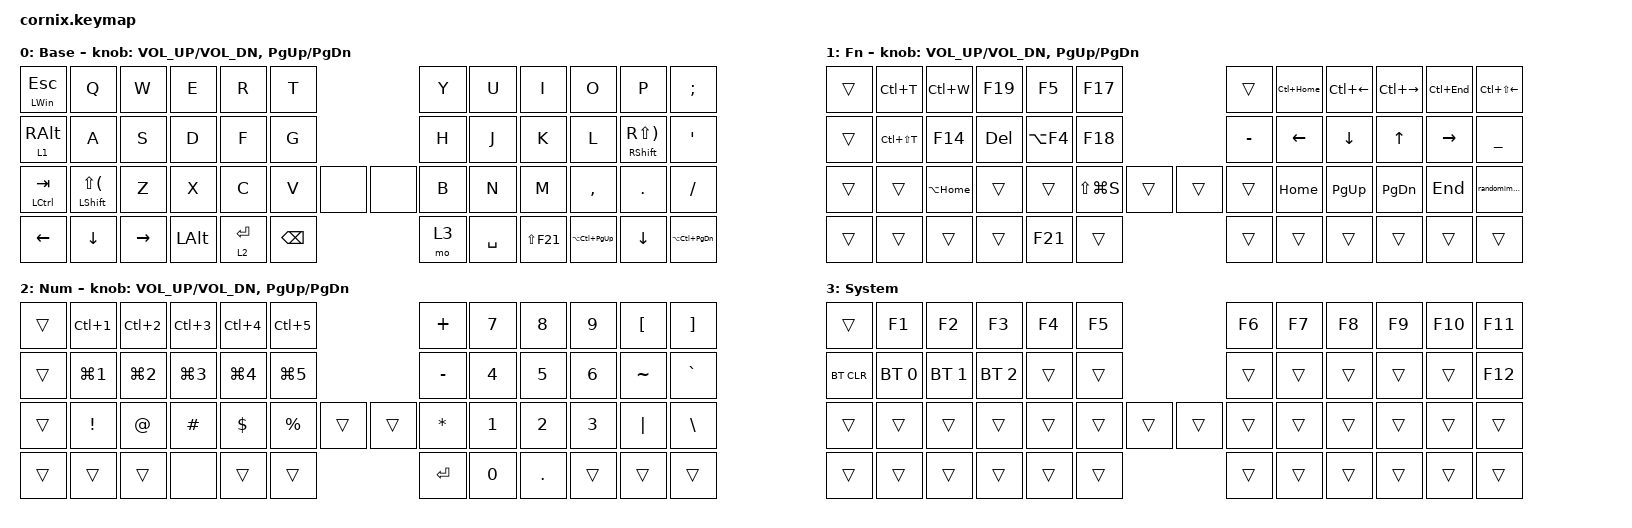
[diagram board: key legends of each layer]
/*
 * Copyright (c) 2020 The ZMK Contributors
 *
 * SPDX-License-Identifier: MIT
 */

#include "zmk-helpers/helper.h"
#include "includes/cornix54.h"

// tap windows for ctl alt and gui

#define HM_TAPPING_TERM 250
#define HM_TAPPING_REPEAT 210

// quick tapping for shift

#define HM_TAPPING_TERM_FAST 200
#define HM_PRIOR_IDLE 70
#define BASE 0
#define WIN 1
#define LOWER 2
#define RAISE 3
#define ADJUST 4
#define NAVI   5
#define NUM    6
#define DEBUG  7

// https://github.com/urob/zmk-config/tree/main#timeless-homerow-mods

#define KEYS_L LT0 LT1 LT2 LT3 LT4 LT5 LM0 LM1 LM2 LM3 LM4 LM5 LB0 LB1 LB2 LB3 LB4 LB5  // left hand
#define KEYS_R RT0 RT1 RT2 RT3 RT4 RT5 RM0 RM1 RM2 RM3 RM4 RM5 RB0 RB1 RB2 RB3 RB4 RB5  // right hand
#define THUMBS LH1 LH0 RH0 RH1
#define KEYS_T LH1 LH0 RH0 RH1
#define ZMK_POINTING_DEFAULT_SCRL_VAL 15

#include <behaviors.dtsi>
#include <dt-bindings/zmk/bt.h>
#include <dt-bindings/zmk/keys.h>

/ {
    // Activate ADJUST layer by pressing raise and lower

    behaviors {
        // Positional Homerow mods for shift
        // Use faster tapping term and disable some features that may
        // cause false negatives.
        /*
         * Non-Positional Homerow Mods
         * Used for &mm_grescm_gui behavior on left hand.
         *
         * Usage: &hm LSHFT T
         * Tap: T
         * Tap-Tap-Hold: Repeat T
         * Hold: LSHIFT
         */

        lt: layer_tap {
            compatible = "zmk,behavior-hold-tap";
            #binding-cells = <2>;
            bindings = <&mo>, <&kp>;

            flavor = "hold-preferred";
            tapping-term-ms = <HM_TAPPING_TERM>;
            quick-tap-ms = <200>;
        };

        space_cadet: space_cadet {
            compatible = "zmk,behavior-hold-tap";
            label = "SPACE_CADET";
            bindings = <&kp>, <&kp>;

            #binding-cells = <2>;
            tapping-term-ms = <200>;
            hold-while-undecided;
        };

        ctrl_holdtap: ctrl_holdtap {
            compatible = "zmk,behavior-hold-tap";
            label = "CTRL_HOLDTAP";
            bindings = <&kp>, <&kp>;

            #binding-cells = <2>;
            tapping-term-ms = <200>;
            hold-while-undecided;
        };
    };

    conditional_layers { compatible = "zmk,conditional-layers"; };

    combos {
        compatible = "zmk,combos";

        equal {
            bindings = <&kp EQUAL>;
            key-positions = <6 18>;
            layers = <2>;
        };

        up_2 {
            bindings = <&kp UP_ARROW>;
            key-positions = <47 49>;
        };

        up_1 {
            bindings = <&kp UP_ARROW>;
            key-positions = <38 40>;
        };

        haneng_jk_ {
            bindings = <&kp RIGHT_ALT>;
            key-positions = <19 20>;
            layers = <0>;
            require-prior-idle-ms = <100>;
            timeout-ms = <80>;
        };
    };

    macros {
        randomimage: randomimage {
            compatible = "zmk,behavior-macro";
            #binding-cells = <0>;
            bindings = <&macro_press>, <&kp LA(LC(PAGE_DOWN))>;

            label = "RANDOMIMAGE";
        };
    };

    keymap {
        compatible = "zmk,keymap";

        default_layer {
            display-name = "Base";

            // ------------------------------------------------------------------------------------------------------------
            // |   `   |  1  |  2  |  3   |  4   |  5   |                   |  6   |  7    |  8    |  9   |   0   |       |
            // |  ESC  |  Q  |  W  |  E   |  R   |  T   |                   |  Y   |  U    |  I    |  O   |   P   | BKSPC |
            // |  TAB  |  A  |  S  |  D   |  F   |  G   |                   |  H   |  J    |  K    |  L   |   ;   |   '   |
            // | SHIFT |  Z  |  X  |  C   |  V   |  B   |  MUTE  |  |       |  N   |  M    |  ,    |  .   |   /   | SHIFT |
            //               | GUI | ALT  | CTRL | LOWER|  ENTER |  | SPACE | RAISE| CTRL  | ALT   | GUI  |

            bindings = <
&mt LEFT_WIN ESCAPE      &kp Q                                         &kp W      &kp E         &kp R        &kp T                        &kp Y  &kp U      &kp I        &kp O              &kp P                                     &kp SEMICOLON
&lt 1 RIGHT_ALT          &kp A                                         &kp S      &kp D         &kp F        &kp G                        &kp H  &kp J      &kp K        &kp L              &space_cadet RSHFT RS(RIGHT_PARENTHESIS)  &kp APOSTROPHE
&ctrl_holdtap LCTRL TAB  &space_cadet LEFT_SHIFT LS(LEFT_PARENTHESIS)  &kp Z      &kp X         &kp C        &kp V          &none  &none  &kp B  &kp N      &kp M        &kp COMMA          &kp PERIOD                                &kp SLASH
&kp LEFT                 &kp DOWN                                      &kp RIGHT  &kp LEFT_ALT  &lt 2 ENTER  &kp BACKSPACE                &mo 3  &kp SPACE  &kp LS(F21)  &kp LA(LC(PG_UP))  &kp DOWN                                  &kp LA(LC(PAGE_DOWN))
            >;

            sensor-bindings = <&inc_dec_kp C_VOL_UP C_VOL_DN &inc_dec_kp PG_UP PG_DN>;
        };

        Function {
            display-name = "Fn";

            // ------------------------------------------------------------------------------------------------------------
            // |   `   |  1  |  2  |  3   |  4   |  5   |                   |  6   |  7    |  8    |  9   |   0   |       |
            // |  ESC  |  Q  |  W  |  E   |  R   |  T   |                   |  Y   |  U    |  I    |  O   |   P   | BKSPC |
            // |  TAB  |  A  |  S  |  D   |  F   |  G   |                   |  H   |  J    |  K    |  L   |   ;   |   '   |
            // | SHIFT |  Z  |  X  |  C   |  V   |  B   |  MUTE  |  |       |  N   |  M    |  ,    |  .   |   /   | SHIFT |
            //               | GUI | ALT  | CTRL | LOWER|  ENTER |  | SPACE | RAISE| CTRL  | ALT   | GUI  |

            bindings = <
&trans  &kp LC(T)      &kp LC(W)     &kp F19  &kp F5      &kp F17                        &trans     &kp LC(HOME)  &kp LC(LEFT)  &kp LC(RIGHT)  &kp LC(END)  &kp LC(LS(LEFT))
&trans  &kp LC(LS(T))  &kp F14       &kp DEL  &kp LA(F4)  &kp F18                        &kp MINUS  &kp LEFT      &kp DOWN      &kp UP_ARROW   &kp RIGHT    &kp UNDERSCORE
&trans  &trans         &kp LA(HOME)  &trans   &trans      &kp LS(LG(S))  &trans  &trans  &trans     &kp HOME      &kp PG_UP     &kp PAGE_DOWN  &kp END      &randomimage
&trans  &trans         &trans        &trans   &kp F21     &trans                         &trans     &trans        &trans        &trans         &trans       &trans
            >;

            sensor-bindings = <&inc_dec_kp C_VOL_UP C_VOL_DN &inc_dec_kp PG_UP PG_DN>;
        };

        Number {
            display-name = "Num";

            // TODO: Some binds are waiting for shifted keycode support.
            // -------------------------------
            // |       |  F1 |  F2 |  F3  |  F4  |  F5  |                   |  F6  |  F7   |  F8   |  F9  |  F10  |  F11  |
            // |   `   |  1  |  2  |  3   |  4   |  5   |                   |  6   |  7    |  8    |  9   |   0   |  F12  |
            // |       |  !  |  @  |  #   |  $   |  %   |                   |  ^   |  &    |  *    |  (   |   )   |   |   |
            // |       |  =  |  -  |  +   |  {   |  }   |        |  |       |  [   |  ]    |  ;    |  :   |   \   |       |
            //               |     |      |      |      |        |  |       |      |       |       |      |

            bindings = <
&trans  &kp LC(NUMBER_1)  &kp LC(NUMBER_2)  &kp LC(NUMBER_3)  &kp LC(NUMBER_4)  &kp LC(N5)                   &kp PLUS      &kp N7        &kp N8        &kp N9        &kp LEFT_BRACKET  &kp RIGHT_BRACKET
&trans  &kp LG(NUMBER_1)  &kp LG(NUMBER_2)  &kp LG(NUMBER_3)  &kp LG(NUMBER_4)  &kp LG(N5)                   &kp MINUS     &kp NUMBER_4  &kp N5        &kp NUMBER_6  &kp TILDE         &kp GRAVE
&trans  &kp EXCLAMATION   &kp AT_SIGN       &kp HASH          &kp DOLLAR        &kp PERCENT  &trans  &trans  &kp ASTERISK  &kp NUMBER_1  &kp NUMBER_2  &kp NUMBER_3  &kp PIPE          &kp BACKSLASH
&trans  &trans            &trans            &none             &trans            &trans                       &kp ENTER     &kp N0        &kp PERIOD    &trans        &trans            &trans
            >;

            sensor-bindings = <&inc_dec_kp C_VOL_UP C_VOL_DN &inc_dec_kp PG_UP PG_DN>;
        };

        System {
            bindings = <
&trans      &kp F1        &kp F2        &kp F3        &kp F4  &kp F5                  &kp F6  &kp F7  &kp F8  &kp F9  &kp F10  &kp F11
&bt BT_CLR  &bt BT_SEL 0  &bt BT_SEL 1  &bt BT_SEL 2  &trans  &trans                  &trans  &trans  &trans  &trans  &trans   &kp F12
&trans      &trans        &trans        &trans        &trans  &trans  &trans  &trans  &trans  &trans  &trans  &trans  &trans   &trans
&trans      &trans        &trans        &trans        &trans  &trans                  &trans  &trans  &trans  &trans  &trans   &trans
            >;
        };
    };
};
